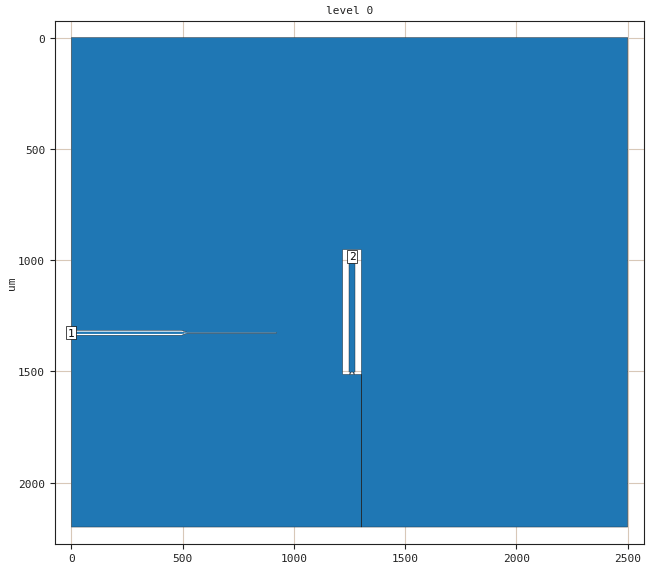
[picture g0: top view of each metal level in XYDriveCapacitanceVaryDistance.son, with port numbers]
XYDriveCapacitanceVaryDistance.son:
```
FTYP SONPROJ 15 ! Sonnet Project File
VER 16.52
HEADER
LIC calt2.2.43068 b6ae2bd1257f DESKTOP-SL82IK9 Michael
DAT 07/14/2016 09:12:14
BUILT_BY_CREATED xgeom 16.52 04/11/2016 14:48:12
BUILT_BY_SAVED xgeom 16.52
MDATE 07/13/2016 19:04:38
HDATE 07/13/2016 19:04:38
END HEADER
DIM
FREQ GHZ
IND NH
LNG UM
ANG DEG
CON /OH
CAP PF
RES OH
END DIM
FREQ
ABS 5.0 26.0 
STEP 0.1
END FREQ
CONTROL
VARSWP
OPTIONS  -d 
SPEED 0
CACHE_ABS 1
TARG_ABS 300
Q_ACC Y
DET_ABS_RES Y
END CONTROL
GEO
DRP1 LEFT FIX 200
DRP1 RIGHT FIX 100
TMET "Free Space" 0 FREESPACE 376.7303136 0 0 0
BMET "Lossless" 0 SUP 0 0 0 0
BOX 1 2500 2200 5000 4400 20 0
      1000 1 1 0 0 0 0 "Unnamed"
      500 11.9 1 5e-006 0 0 0 "Silicon (intrinsic)"
VALVAR groundDistance NONE 297.8 "Dim. Param."
LORGN 0 2200 U 
POR1 AGND
POLY 11 1
4
2 50 0 0 0 1261 983 NONE 
POR1 STD
POLY 15 1
200
1 50 0 0 0 -0.0001766661808 1327 
NUM 3
0 17 -1 N 11 1 1 100 100 0 0 0 Y
1270 1505
1268 1505
1268 1503
1273 1503
1273 983
1249 983
1249 1503
1254 1503
1254 1505
1252 1505
1252 1507
1256 1507
1256 1503
1266 1503
1266 1507
1270 1507
1270 1505
END
0 227 -1 N 14 1 1 100 100 0 0 0 Y
2500 -0.0001223325953
-0.0001766661808 -0.0001223325953
-0.0001766661808 1316
495 1316
495.26 1316.09
495.51 1316.18
495.77 1316.27
496.02 1316.36
496.28 1316.45
496.53 1316.54
496.79 1316.63
497.04 1316.72
497.3 1316.81
497.55 1316.9
497.81 1316.99
498.06 1317.08
498.32 1317.17
498.57 1317.26
498.83 1317.35
499.08 1317.44
499.34 1317.53
499.59 1317.62
499.85 1317.71
500.1 1317.8
500.36 1317.89
500.61 1317.98
500.87 1318.07
501.12 1318.15
501.38 1318.24
501.63 1318.33
501.89 1318.42
502.14 1318.51
502.4 1318.6
502.65 1318.69
502.91 1318.78
503.16 1318.87
503.42 1318.96
503.67 1319.05
503.93 1319.14
504.18 1319.23
504.44 1319.32
504.69 1319.41
504.95 1319.5
505.2 1319.59
505.46 1319.68
505.71 1319.77
505.97 1319.86
506.22 1319.95
506.48 1320.04
506.73 1320.13
506.99 1320.22
507.24 1320.31
507.5 1320.4
507.76 1320.49
508.01 1320.58
508.26 1320.67
508.52 1320.76
508.78 1320.85
509.03 1320.94
509.29 1321.03
509.54 1321.12
509.8 1321.21
510.05 1321.3
510.31 1321.39
510.56 1321.48
510.82 1321.57
511.07 1321.66
511.33 1321.75
511.58 1321.84
511.84 1321.93
512.09 1322.02
512.35 1322.11
512.6 1322.2
512.86 1322.29
513.11 1322.38
513.37 1322.47
513.62 1322.56
513.88 1322.64
514.13 1322.74
514.39 1322.82
514.64 1322.91
514.9 1323
515.15 1323.09
515.41 1323.18
515.66 1323.27
515.92 1323.36
516.17 1323.45
516.43 1323.54
516.68 1323.63
516.94 1323.72
517.19 1323.81
517.45 1323.9
517.7 1323.99
517.96 1324.08
518.21 1324.17
518.47 1324.26
518.72 1324.35
518.98 1324.44
519.23 1324.53
519.49 1324.62
519.74 1324.71
520 1324.8
921.2 1324.8
921.2 1327
921.2 1329.2
520 1329.2
519.74 1329.29
519.49 1329.38
519.23 1329.47
518.98 1329.56
518.72 1329.65
518.47 1329.74
518.21 1329.83
517.96 1329.92
517.7 1330.01
517.45 1330.1
517.19 1330.19
516.94 1330.28
516.68 1330.37
516.43 1330.46
516.17 1330.55
515.92 1330.64
515.66 1330.73
515.41 1330.82
515.15 1330.91
514.9 1331
514.64 1331.09
514.39 1331.18
514.13 1331.26
513.88 1331.35
513.62 1331.44
513.37 1331.53
513.11 1331.62
512.86 1331.71
512.6 1331.8
512.35 1331.89
512.09 1331.98
511.84 1332.07
511.58 1332.16
511.33 1332.25
511.07 1332.34
510.82 1332.43
510.56 1332.52
510.31 1332.61
510.05 1332.7
509.8 1332.79
509.54 1332.88
509.29 1332.97
509.03 1333.06
508.78 1333.15
508.52 1333.24
508.27 1333.33
508.01 1333.42
507.76 1333.51
507.5 1333.6
507.24 1333.69
506.99 1333.78
506.73 1333.87
506.48 1333.96
506.22 1334.05
505.97 1334.14
505.71 1334.23
505.46 1334.32
505.2 1334.41
504.95 1334.5
504.69 1334.59
504.44 1334.68
504.18 1334.77
503.93 1334.86
503.67 1334.95
503.42 1335.04
503.16 1335.13
502.91 1335.22
502.65 1335.31
502.4 1335.4
502.14 1335.49
501.89 1335.58
501.63 1335.66
501.38 1335.75
501.12 1335.84
500.87 1335.93
500.61 1336.02
500.36 1336.11
500.1 1336.2
499.85 1336.29
499.59 1336.38
499.34 1336.47
499.08 1336.56
498.83 1336.65
498.57 1336.74
498.32 1336.83
498.06 1336.92
497.81 1337.01
497.55 1337.1
497.3 1337.19
497.04 1337.28
496.79 1337.37
496.53 1337.46
496.28 1337.55
496.02 1337.64
495.76 1337.73
495.51 1337.82
495.26 1337.91
495 1338
-0.0001766661808 1338
-0.0001766661808 2200.000145
1303 2200.000145
1303 1514
1272 1514
1272 1510
1268 1510
1268 1512
1270 1512
1270 1514
1252 1514
1252 1512
1254 1512
1254 1510
1250 1510
1250 1514
1219 1514
1219 953
1303 953
1303 1514
1303 2200.000145
2500 2200.000145
2500 -0.0001223325953
END
0 204 -1 N 15 1 1 100 100 0 0 0 Y
495.26 1331.96
495.51 1331.92
495.76 1331.88
496.02 1331.84
496.28 1331.8
496.53 1331.75
496.79 1331.71
497.04 1331.67
497.3 1331.63
497.55 1331.59
497.81 1331.55
498.06 1331.51
498.32 1331.47
498.57 1331.43
498.83 1331.39
499.08 1331.35
499.34 1331.31
499.59 1331.27
499.85 1331.22
500.1 1331.18
500.36 1331.14
500.61 1331.1
500.87 1331.06
501.12 1331.02
501.38 1330.98
501.63 1330.94
501.89 1330.9
502.14 1330.86
502.4 1330.82
502.65 1330.78
502.91 1330.74
503.16 1330.69
503.42 1330.65
503.67 1330.61
503.93 1330.57
504.18 1330.53
504.44 1330.49
504.69 1330.45
504.95 1330.41
505.2 1330.37
505.46 1330.33
505.71 1330.29
505.97 1330.24
506.22 1330.2
506.48 1330.16
506.73 1330.12
506.99 1330.08
507.24 1330.04
507.5 1330
507.76 1329.96
508.01 1329.92
508.27 1329.88
508.52 1329.84
508.78 1329.8
509.03 1329.76
509.29 1329.71
509.54 1329.67
509.8 1329.63
510.05 1329.59
510.31 1329.55
510.56 1329.51
510.82 1329.47
511.07 1329.43
511.33 1329.39
511.58 1329.35
511.84 1329.31
512.09 1329.26
512.35 1329.22
512.6 1329.18
512.86 1329.14
513.11 1329.1
513.37 1329.06
513.62 1329.02
513.88 1328.98
514.13 1328.94
514.39 1328.9
514.64 1328.86
514.9 1328.82
515.15 1328.78
515.41 1328.74
515.66 1328.69
515.92 1328.65
516.17 1328.61
516.43 1328.57
516.68 1328.53
516.94 1328.49
517.19 1328.45
517.45 1328.41
517.7 1328.37
517.96 1328.33
518.21 1328.29
518.47 1328.24
518.72 1328.2
518.98 1328.16
519.24 1328.12
519.49 1328.08
519.74 1328.04
520 1328
920 1328
920 1327
920 1326
520 1326
519.74 1325.96
519.49 1325.92
519.24 1325.88
518.98 1325.84
518.72 1325.8
518.47 1325.75
518.21 1325.71
517.96 1325.67
517.7 1325.63
517.45 1325.59
517.19 1325.55
516.94 1325.51
516.68 1325.47
516.43 1325.43
516.17 1325.39
515.92 1325.35
515.66 1325.31
515.41 1325.26
515.15 1325.22
514.9 1325.18
514.64 1325.14
514.39 1325.1
514.13 1325.06
513.88 1325.02
513.62 1324.98
513.37 1324.94
513.11 1324.9
512.86 1324.86
512.6 1324.82
512.35 1324.78
512.09 1324.74
511.84 1324.69
511.58 1324.65
511.33 1324.61
511.07 1324.57
510.82 1324.53
510.56 1324.49
510.31 1324.45
510.05 1324.41
509.8 1324.37
509.54 1324.33
509.29 1324.29
509.03 1324.24
508.78 1324.2
508.52 1324.16
508.27 1324.12
508.01 1324.08
507.76 1324.04
507.5 1324
507.24 1323.96
506.99 1323.92
506.73 1323.88
506.48 1323.84
506.22 1323.8
505.97 1323.76
505.71 1323.71
505.46 1323.67
505.2 1323.63
504.95 1323.59
504.69 1323.55
504.44 1323.51
504.18 1323.47
503.93 1323.43
503.67 1323.39
503.42 1323.35
503.16 1323.31
502.91 1323.27
502.65 1323.22
502.4 1323.18
502.14 1323.14
501.89 1323.1
501.63 1323.06
501.38 1323.02
501.12 1322.98
500.87 1322.94
500.61 1322.9
500.36 1322.86
500.1 1322.82
499.85 1322.78
499.59 1322.73
499.34 1322.69
499.08 1322.65
498.83 1322.61
498.57 1322.57
498.32 1322.53
498.06 1322.49
497.81 1322.45
497.55 1322.41
497.3 1322.37
497.04 1322.33
496.79 1322.29
496.53 1322.24
496.28 1322.2
496.02 1322.16
495.77 1322.12
495.51 1322.08
495.26 1322.04
495 1322
-0.0001766661808 1322
-0.0001766661808 1332
495 1332
495.26 1331.96
END
END GEO
OPT
MAX 100
VARS
VAR groundDistance N UNDEF UNDEF UNDEF
END
END OPT
VARSWP
STEP 0.1
VAR groundDistance Y 20.0 40.0 10.0
END
END VARSWP
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```
